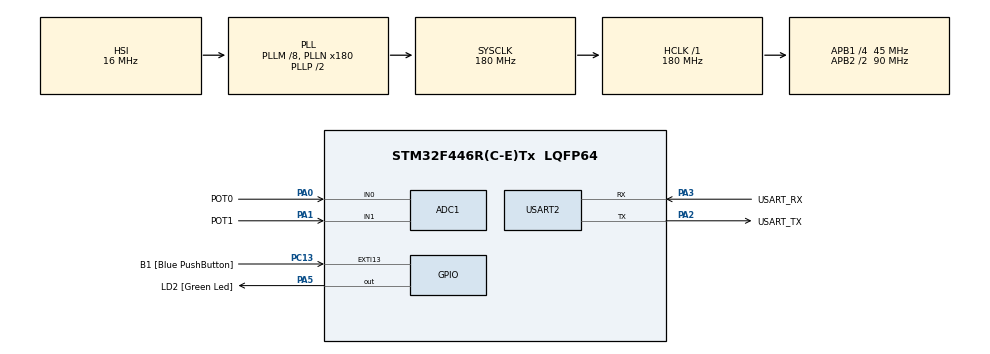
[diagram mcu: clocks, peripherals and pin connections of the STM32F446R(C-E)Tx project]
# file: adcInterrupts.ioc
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ADC1.Channel-10\#ChannelRegularConversion=ADC_CHANNEL_1
ADC1.Channel-11\#ChannelRegularConversion=ADC_CHANNEL_TEMPSENSOR
ADC1.Channel-9\#ChannelRegularConversion=ADC_CHANNEL_0
ADC1.ExternalTrigConv=ADC_EXTERNALTRIGCONV_T2_TRGO
ADC1.NbrOfConversion=3
ADC1.NbrOfConversionFlag=1
ADC1.Rank-10\#ChannelRegularConversion=2
ADC1.Rank-11\#ChannelRegularConversion=3
ADC1.Rank-9\#ChannelRegularConversion=1
ADC1.SamplingTime-10\#ChannelRegularConversion=ADC_SAMPLETIME_480CYCLES
ADC1.SamplingTime-11\#ChannelRegularConversion=ADC_SAMPLETIME_480CYCLES
ADC1.SamplingTime-9\#ChannelRegularConversion=ADC_SAMPLETIME_480CYCLES
ADC1.master=1
Mcu.Family=STM32F4
Mcu.Name=STM32F446R(C-E)Tx
Mcu.Package=LQFP64
NVIC.ADC_IRQn=true\:0\:0\:false\:false\:true\:true\:true\:true
NVIC.PriorityGroup=NVIC_PRIORITYGROUP_0
PA0-WKUP.GPIO_Label=POT0
PA0-WKUP.Signal=ADCx_IN0
PA1.GPIO_Label=POT1
PA1.Signal=ADCx_IN1
PA13.GPIO_Label=TMS
PA13.Mode=Trace_Asynchronous_SW
PA13.Signal=SYS_JTMS-SWDIO
PA14.GPIO_Label=TCK
PA14.Mode=Trace_Asynchronous_SW
PA14.Signal=SYS_JTCK-SWCLK
PA2.GPIO_Label=USART_TX
PA2.Mode=Asynchronous
PA2.Signal=USART2_TX
PA3.GPIO_Label=USART_RX
PA3.Mode=Asynchronous
PA3.Signal=USART2_RX
PA5.GPIO_Label=LD2 [Green Led]
PA5.Signal=GPIO_Output
PB3.GPIO_Label=SWO
PB3.Mode=Trace_Asynchronous_SW
PB3.Signal=SYS_JTDO-SWO
PC13.GPIO_Label=B1 [Blue PushButton]
PC13.GPIO_ModeDefaultEXTI=GPIO_MODE_IT_FALLING
PC13.Signal=GPXTI13
PC14-OSC32_IN.Mode=LSE-External-Oscillator
PC14-OSC32_IN.Signal=RCC_OSC32_IN
PC15-OSC32_OUT.Mode=LSE-External-Oscillator
PC15-OSC32_OUT.Signal=RCC_OSC32_OUT
PH0-OSC_IN.Mode=HSE-External-Oscillator
PH0-OSC_IN.Signal=RCC_OSC_IN
PH1-OSC_OUT.Mode=HSE-External-Oscillator
PH1-OSC_OUT.Signal=RCC_OSC_OUT
ProjectManager.HeapSize=0x200
ProjectManager.StackSize=0x400
ProjectManager.TargetToolchain=STM32CubeIDE
RCC.48MHZClocksFreq_Value=84000000
RCC.AHBFreq_Value=180000000
RCC.APB1CLKDivider=RCC_HCLK_DIV4
RCC.APB1Freq_Value=45000000
RCC.APB1TimFreq_Value=90000000
RCC.APB2CLKDivider=RCC_HCLK_DIV2
RCC.APB2Freq_Value=90000000
RCC.APB2TimFreq_Value=180000000
RCC.CortexFreq_Value=180000000
RCC.FLatency-AdvancedSettings=FLASH_LATENCY_5
RCC.HCLKFreq_Value=180000000
RCC.HSE_VALUE=8000000
RCC.HSI_VALUE=16000000
RCC.PLLM=8
RCC.PLLN=180
RCC.SYSCLKFreq_VALUE=180000000
RCC.SYSCLKSource=RCC_SYSCLKSOURCE_PLLCLK
RCC.USBFreq_Value=180000000
RCC.VCOOutputFreq_Value=360000000
SH.ADCx_IN0.0=ADC1_IN0,IN0
SH.ADCx_IN1.0=ADC1_IN1,IN1
TIM2.Period=125-1
TIM2.Prescaler=90-1
TIM2.TIM_MasterOutputTrigger=TIM_TRGO_UPDATE
USART2.VirtualMode=VM_ASYNC
VP_ADC1_TempSens_Input.Mode=IN-TempSens
VP_TIM2_VS_ClockSourceINT.Mode=Internal
board=NUCLEO-F446RE

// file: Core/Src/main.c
/* USER CODE BEGIN Header */
/**
 ******************************************************************************
 * @file           : main.c
 * @brief          : Main program body
 ******************************************************************************
 * @attention
 *
 * Copyright (c) 2026 STMicroelectronics.
 * All rights reserved.
 *
 * This software is licensed under terms that can be found in the LICENSE file
 * in the root directory of this software component.
 * If no LICENSE file comes with this software, it is provided AS-IS.
 *
 ******************************************************************************
 */
/* USER CODE END Header */
#include "main.h"

/* USER CODE BEGIN Includes */
#include <stdio.h>
#include <math.h>

/* USER CODE END Includes */

ADC_HandleTypeDef hadc1;

TIM_HandleTypeDef htim2;

UART_HandleTypeDef huart2;

/* USER CODE BEGIN PV */

uint32_t adcValues[3] = { 0, 0, 0 }; // Array to hold ADC values for 3 channels: ADC_CHANNEL_0, ADC_CHANNEL_1, ADC_CHANNEL_TEMPSENSOR
uint32_t channelIndex = 0; // Index to track which channel's value is being updated in the adcValues array

/* USER CODE END PV */

void SystemClock_Config(void);
static void MX_GPIO_Init(void);
static void MX_ADC1_Init(void);
static void MX_TIM2_Init(void);
static void MX_USART2_UART_Init(void);
/* USER CODE BEGIN PFP */
float analogToTemperature(unsigned int rawVal);
float analogToVoltage(unsigned int rawVal);
/* USER CODE END PFP */

/* USER CODE BEGIN 0 */
float analogToTemperature(unsigned int rawVal) {
	// Convert raw ADC value from the internal temperature sensor into °C
	// Formula:
	//  - rawVal / 4095.0   → normalize 12-bit ADC (0..4095) to 0..1
	//  - * 3.3             → convert to voltage (assuming Vref = 3.3V)
	//  - - 0.76            → subtract voltage at 25 °C (typical = 0.76 V)
	//  - / 0.0025          → divide by slope (2.5 mV/°C)
	//  - + 25              → add reference temperature (25 °C)
	return ((((rawVal / 4095.0) * 3.3) - 0.76) / 0.0025) + 25;
}

float analogToVoltage(unsigned int rawVal) {
	// Convert the raw ADC value to voltage
	// Assuming a 12-bit ADC with a reference voltage of 3.3V
	return ((float) rawVal) * 3.3 / 4095;
}

void HAL_ADC_ConvCpltCallback(ADC_HandleTypeDef *hadc) {
	// This callback is called when an ADC conversion is complete
	if (hadc->Instance == ADC1) {
		// Read the converted value and store it in the adcValues array
		adcValues[channelIndex] = HAL_ADC_GetValue(hadc);
		channelIndex = (channelIndex + 1) % 3; // Move to the next channel index (0, 1, 2)
	}
}
/* USER CODE END 0 */

int main(void)
{

  /* MCU Configuration--------------------------------------------------------*/

  /* Reset of all peripherals, Initializes the Flash interface and the Systick. */
  HAL_Init();

  /* Configure the system clock */
  SystemClock_Config();

  /* Initialize all configured peripherals */
  MX_GPIO_Init();
  MX_ADC1_Init();
  MX_TIM2_Init();
  MX_USART2_UART_Init();
  /* USER CODE BEGIN 2 */
	HAL_TIM_Base_Start(&htim2);
	HAL_ADC_Start_IT(&hadc1);
  /* USER CODE END 2 */

  /* Infinite loop */
	while (1) {

    /* USER CODE BEGIN 3 */

		float pot0Voltage = analogToVoltage(adcValues[0]);
		float pot1Voltage = analogToVoltage(adcValues[1]);
		float temperature = analogToTemperature(adcValues[2]);

		printf("po0t0Voltage: %.2f V, pot1Voltage: %.2f V, temperature: %.2f °C\r\n", pot0Voltage, pot1Voltage, temperature);
		HAL_Delay(1000); // Delay for 1 second before printing values again

	}
  /* USER CODE END 3 */
}

void SystemClock_Config(void)
{
  RCC_OscInitTypeDef RCC_OscInitStruct = {0};
  RCC_ClkInitTypeDef RCC_ClkInitStruct = {0};

  /** Configure the main internal regulator output voltage
  */
  __HAL_RCC_PWR_CLK_ENABLE();
  __HAL_PWR_VOLTAGESCALING_CONFIG(PWR_REGULATOR_VOLTAGE_SCALE1);

  /** Initializes the RCC Oscillators according to the specified parameters
  * in the RCC_OscInitTypeDef structure.
  */
  RCC_OscInitStruct.OscillatorType = RCC_OSCILLATORTYPE_HSI;
  RCC_OscInitStruct.HSIState = RCC_HSI_ON;
  RCC_OscInitStruct.HSICalibrationValue = RCC_HSICALIBRATION_DEFAULT;
  RCC_OscInitStruct.PLL.PLLState = RCC_PLL_ON;
  RCC_OscInitStruct.PLL.PLLSource = RCC_PLLSOURCE_HSI;
  RCC_OscInitStruct.PLL.PLLM = 8;
  RCC_OscInitStruct.PLL.PLLN = 180;
  RCC_OscInitStruct.PLL.PLLP = RCC_PLLP_DIV2;
  RCC_OscInitStruct.PLL.PLLQ = 2;
  RCC_OscInitStruct.PLL.PLLR = 2;
  if (HAL_RCC_OscConfig(&RCC_OscInitStruct) != HAL_OK)
  {
    Error_Handler();
  }

  /** Activate the Over-Drive mode
  */
  if (HAL_PWREx_EnableOverDrive() != HAL_OK)
  {
    Error_Handler();
  }

  /** Initializes the CPU, AHB and APB buses clocks
  */
  RCC_ClkInitStruct.ClockType = RCC_CLOCKTYPE_HCLK|RCC_CLOCKTYPE_SYSCLK
                              |RCC_CLOCKTYPE_PCLK1|RCC_CLOCKTYPE_PCLK2;
  RCC_ClkInitStruct.SYSCLKSource = RCC_SYSCLKSOURCE_PLLCLK;
  RCC_ClkInitStruct.AHBCLKDivider = RCC_SYSCLK_DIV1;
  RCC_ClkInitStruct.APB1CLKDivider = RCC_HCLK_DIV4;
  RCC_ClkInitStruct.APB2CLKDivider = RCC_HCLK_DIV2;

  if (HAL_RCC_ClockConfig(&RCC_ClkInitStruct, FLASH_LATENCY_5) != HAL_OK)
  {
    Error_Handler();
  }
}

static void MX_ADC1_Init(void)
{

  ADC_ChannelConfTypeDef sConfig = {0};

  /** Configure the global features of the ADC (Clock, Resolution, Data Alignment and number of conversion)
  */
  hadc1.Instance = ADC1;
  hadc1.Init.ClockPrescaler = ADC_CLOCK_SYNC_PCLK_DIV4;
  hadc1.Init.Resolution = ADC_RESOLUTION_12B;
  hadc1.Init.ScanConvMode = ENABLE;
  hadc1.Init.ContinuousConvMode = DISABLE;
  hadc1.Init.DiscontinuousConvMode = DISABLE;
  hadc1.Init.ExternalTrigConvEdge = ADC_EXTERNALTRIGCONVEDGE_RISING;
  hadc1.Init.ExternalTrigConv = ADC_EXTERNALTRIGCONV_T2_TRGO;
  hadc1.Init.DataAlign = ADC_DATAALIGN_RIGHT;
  hadc1.Init.NbrOfConversion = 3;
  hadc1.Init.DMAContinuousRequests = DISABLE;
  hadc1.Init.EOCSelection = ADC_EOC_SINGLE_CONV;
  if (HAL_ADC_Init(&hadc1) != HAL_OK)
  {
    Error_Handler();
  }

  /** Configure for the selected ADC regular channel its corresponding rank in the sequencer and its sample time.
  */
  sConfig.Channel = ADC_CHANNEL_0;
  sConfig.Rank = 1;
  sConfig.SamplingTime = ADC_SAMPLETIME_480CYCLES;
  if (HAL_ADC_ConfigChannel(&hadc1, &sConfig) != HAL_OK)
  {
    Error_Handler();
  }

  /** Configure for the selected ADC regular channel its corresponding rank in the sequencer and its sample time.
  */
  sConfig.Channel = ADC_CHANNEL_1;
  sConfig.Rank = 2;
  if (HAL_ADC_ConfigChannel(&hadc1, &sConfig) != HAL_OK)
  {
    Error_Handler();
  }

  /** Configure for the selected ADC regular channel its corresponding rank in the sequencer and its sample time.
  */
  sConfig.Channel = ADC_CHANNEL_TEMPSENSOR;
  sConfig.Rank = 3;
  if (HAL_ADC_ConfigChannel(&hadc1, &sConfig) != HAL_OK)
  {
    Error_Handler();
  }

}

static void MX_TIM2_Init(void)
{

  TIM_ClockConfigTypeDef sClockSourceConfig = {0};
  TIM_MasterConfigTypeDef sMasterConfig = {0};

  htim2.Instance = TIM2;
  htim2.Init.Prescaler = 90-1;
  htim2.Init.CounterMode = TIM_COUNTERMODE_UP;
  htim2.Init.Period = 125-1;
  htim2.Init.ClockDivision = TIM_CLOCKDIVISION_DIV1;
  htim2.Init.AutoReloadPreload = TIM_AUTORELOAD_PRELOAD_DISABLE;
  if (HAL_TIM_Base_Init(&htim2) != HAL_OK)
  {
    Error_Handler();
  }
  sClockSourceConfig.ClockSource = TIM_CLOCKSOURCE_INTERNAL;
  if (HAL_TIM_ConfigClockSource(&htim2, &sClockSourceConfig) != HAL_OK)
  {
    Error_Handler();
  }
  sMasterConfig.MasterOutputTrigger = TIM_TRGO_UPDATE;
  sMasterConfig.MasterSlaveMode = TIM_MASTERSLAVEMODE_DISABLE;
  if (HAL_TIMEx_MasterConfigSynchronization(&htim2, &sMasterConfig) != HAL_OK)
  {
    Error_Handler();
  }

}

static void MX_USART2_UART_Init(void)
{

  huart2.Instance = USART2;
  huart2.Init.BaudRate = 115200;
  huart2.Init.WordLength = UART_WORDLENGTH_8B;
  huart2.Init.StopBits = UART_STOPBITS_1;
  huart2.Init.Parity = UART_PARITY_NONE;
  huart2.Init.Mode = UART_MODE_TX_RX;
  huart2.Init.HwFlowCtl = UART_HWCONTROL_NONE;
  huart2.Init.OverSampling = UART_OVERSAMPLING_16;
  if (HAL_UART_Init(&huart2) != HAL_OK)
  {
    Error_Handler();
  }

}

static void MX_GPIO_Init(void)
{
  GPIO_InitTypeDef GPIO_InitStruct = {0};

  /* GPIO Ports Clock Enable */
  __HAL_RCC_GPIOC_CLK_ENABLE();
  __HAL_RCC_GPIOH_CLK_ENABLE();
  __HAL_RCC_GPIOA_CLK_ENABLE();
  __HAL_RCC_GPIOB_CLK_ENABLE();

  /*Configure GPIO pin Output Level */
  HAL_GPIO_WritePin(LD2_GPIO_Port, LD2_Pin, GPIO_PIN_RESET);

  /*Configure GPIO pin : B1_Pin */
  GPIO_InitStruct.Pin = B1_Pin;
  GPIO_InitStruct.Mode = GPIO_MODE_IT_FALLING;
  GPIO_InitStruct.Pull = GPIO_NOPULL;
  HAL_GPIO_Init(B1_GPIO_Port, &GPIO_InitStruct);

  /*Configure GPIO pin : LD2_Pin */
  GPIO_InitStruct.Pin = LD2_Pin;
  GPIO_InitStruct.Mode = GPIO_MODE_OUTPUT_PP;
  GPIO_InitStruct.Pull = GPIO_NOPULL;
  GPIO_InitStruct.Speed = GPIO_SPEED_FREQ_LOW;
  HAL_GPIO_Init(LD2_GPIO_Port, &GPIO_InitStruct);

}

/* USER CODE BEGIN 4 */
int __io_putchar(int ch) {
	ITM_SendChar(ch);
	return 0;
}

/* USER CODE END 4 */

void Error_Handler(void)
{
	__disable_irq();
	while (1) {
	}
}
